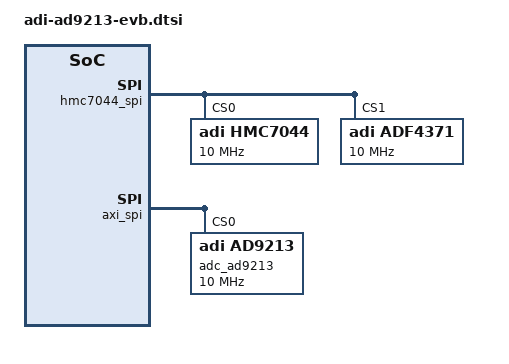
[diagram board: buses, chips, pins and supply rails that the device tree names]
// SPDX-License-Identifier: GPL-2.0
#include <dt-bindings/iio/frequency/hmc7044.h>

&amba_pl {
	hmc7044_spi: spi@44a71000 {
		#address-cells = <1>;
		#size-cells = <0>;
		bits-per-word = <8>;
		compatible = "xlnx,axi-quad-spi-3.2", "xlnx,xps-spi-2.00.a";
		fifo-size = <16>;
		interrupt-names = "ip2intc_irpt";
		interrupt-parent = <&axi_intc>;
		interrupts = <7 0>;
		num-cs = <0x2>;
		reg = <0x44a71000 0x1000>;
		xlnx,num-ss-bits = <0x2>;
		xlnx,spi-mode = <0>;

		status = "okay";

		hmc7044: hmc7044@0 {
			reg = <0>;
			#address-cells = <1>;
			#size-cells = <0>;
			#clock-cells = <1>;
			compatible = "adi,hmc7044";
			spi-max-frequency = <10000000>;

			jesd204-device;
			#jesd204-cells = <2>;
			jesd204-sysref-provider;
			adi,jesd204-max-sysref-frequency-hz = <20000000>;

			adi,pll1-clkin-frequencies = <0 0 0 125000000>;
			adi,vcxo-frequency = <125000000>;

			adi,pll1-loop-bandwidth-hz = <200>;

			adi,pll2-output-frequency = <2500000000>;

			adi,sysref-timer-divider = <1024>;
			adi,pulse-generator-mode = <0>;

			adi,clkin3-buffer-mode  = <0x15>;
			adi,oscin-buffer-mode = <0x15>;

			adi,gpi-controls = <0x00 0x00 0x00 0x00>;
			adi,gpo-controls = <0x1f 0x2b 0x33 0x37>;

			adi,oscillator-output-path-enable;

			adi,oscillator-output1-driver-enable;

			clock-output-names =
				"hmc7044_out0", "hmc7044_out1", "hmc7044_out2",
				"hmc7044_out3", "hmc7044_out4", "hmc7044_out5",
				"hmc7044_out6", "hmc7044_out7", "hmc7044_out8",
				"hmc7044_out9", "hmc7044_out10", "hmc7044_out11",
				"hmc7044_out12", "hmc7044_out13", "hmc7044_oscout1";

			hmc7044_c1: channel@1 {
				reg = <1>;
				adi,extended-name = "ADC_SYSREF";
				adi,divider = <128>;
				adi,driver-mode = <HMC7044_DRIVER_MODE_LVDS>;
				adi,jesd204-sysref-chan;
			};
			hmc7044_c3: channel@3 {
				reg = <3>;
				adi,extended-name = "FMC_SYSREF";
				adi,divider = <128>;
				adi,driver-mode = <HMC7044_DRIVER_MODE_LVDS>;
				adi,jesd204-sysref-chan;
			};
			hmc7044_c4: channel@4 {
				reg = <4>;
				adi,extended-name = "CLKOUT_MMCX";
				adi,divider = <8>;
				adi,driver-mode = <HMC7044_DRIVER_MODE_LVDS>;
			};
			hmc7044_c5: channel@5 {
				reg = <5>;
				adi,extended-name = "FMC_CLK_COPY";
				adi,divider = <8>;
				adi,driver-mode = <HMC7044_DRIVER_MODE_LVDS>;
			};
			hmc7044_c7: channel@7 {
				reg = <7>;
				adi,extended-name = "FMC_REFCLK";
				adi,divider = <4>;
				adi,driver-mode = <HMC7044_DRIVER_MODE_LVDS>;
			};
			hmc7044_c9: channel@9 {
				reg = <9>;
				adi,extended-name = "FMC_REFCLK_COPY";
				adi,divider = <4>;
				adi,driver-mode = <HMC7044_DRIVER_MODE_LVDS>;
			};
			hmc7044_c11: channel@11 {
				reg = <11>;
				adi,extended-name = "CORE_CLK";
				adi,divider = <8>;
				adi,driver-mode = <HMC7044_DRIVER_MODE_LVDS>;
			};
			hmc7044_c14: channel@14 {
				reg = <14>;
				adi,extended-name = "ADF_CLK";
				adi,divider = <1>;
				adi,driver-mode = <HMC7044_DRIVER_MODE_CMOS>;
				adi,driver-impedance-mode = <HMC7044_DRIVER_IMPEDANCE_100_OHM>;
			};
		};

		adf4371: adf4371@1 {
			compatible = "adi,adf4371";
			reg = <1>;

			#address-cells = <1>;
			#clock-cells = <1>;
			#size-cells = <0>;

			jesd204-device;
			#jesd204-cells = <2>;
			jesd204-inputs = <&adc_ad9213 0 0>;

			spi-max-frequency = <10000000>;
			adi,spi-3wire-enable;
			adi,muxout-select = <1>;
			clocks = <&hmc7044 14>;
			clock-names = "clkin";
			clock-output-names = "pll0-clk-rf8", "pll0-clk-rfaux8",
				"pll0-clk-rf16", "pll0-clk-rf32";

			channel@2 {
				reg = <2>;
				adi,output-enable;
				adi,power-up-frequency = /bits/ 64 <10000000000>;
			};
		};
	};

	axi_spi: spi@44a70000 {
		status = "okay";

		adc_ad9213: ad9213@0 {
			compatible = "adi,ad9213";
			reg = <0>;
			#address-cells = <1>;
			#size-cells = <0>;
			spi-max-frequency = <10000000>;

			jesd204-device;
			#jesd204-cells = <2>;
			jesd204-top-device = <0>; /* This is the TOP device */
			jesd204-link-ids = <0>;
			jesd204-inputs = <&axi_ad9213_jesd_rx 0 0>;

			adi,adc-frequency-hz = /bits/ 64 <10000000000>;
			adi,octets-per-frame = <2>;
			adi,frames-per-multiframe = <32>;
			adi,converter-resolution = <16>;
			adi,bits-per-sample = <16>;
			adi,converters-per-device = <1>;
			adi,control-bits-per-sample = <0>;
			adi,lanes-per-device = <16>;
			adi,subclass = <1>;

			io-backends = <&iio_backend>;
		};
	};
};
